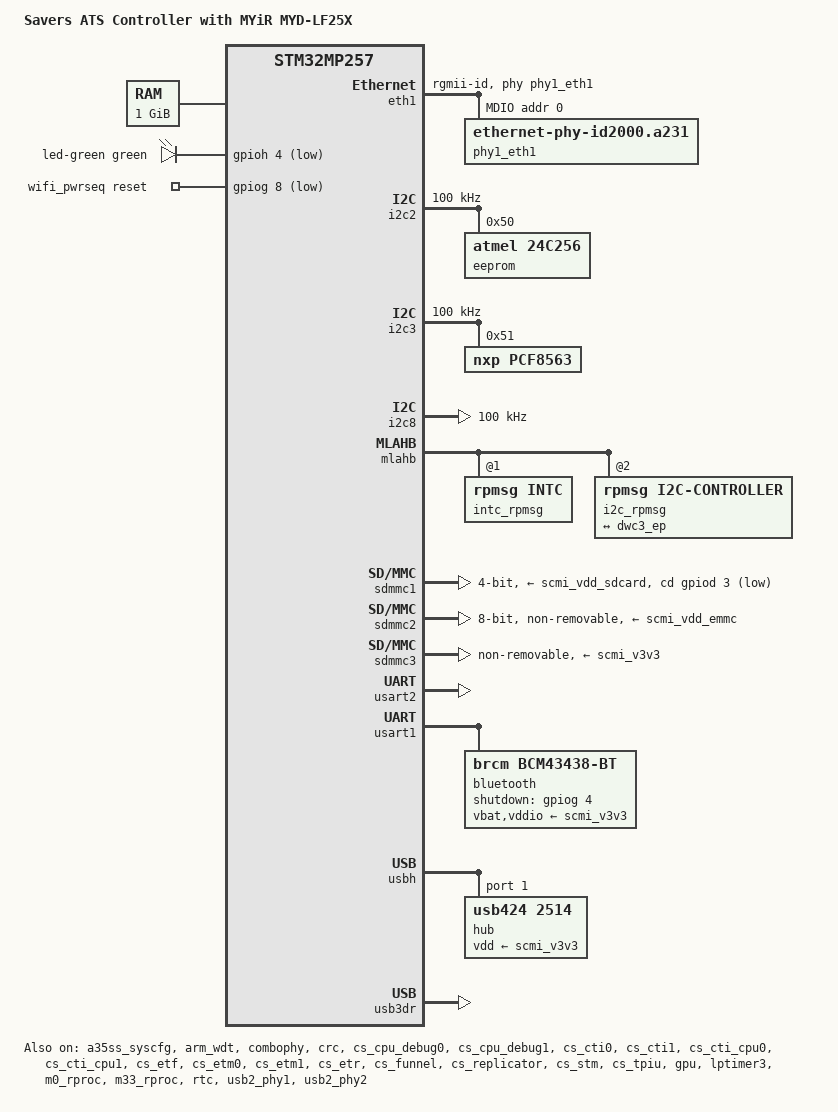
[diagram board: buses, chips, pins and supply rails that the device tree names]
// SPDX-License-Identifier: (GPL-2.0-only OR BSD-3-Clause)

/dts-v1/;

#include <dt-bindings/gpio/gpio.h>
#include <dt-bindings/input/input.h>
#include <dt-bindings/leds/common.h>
#include <dt-bindings/rtc/rtc-stm32.h>
#include <dt-bindings/net/ti-dp83867.h>
#include "stm32mp257.dtsi"
#include "stm32mp25xf.dtsi"
#include "stm32mp25-pinctrl.dtsi"
#include "stm32mp25xxak-pinctrl.dtsi"
#include "savers-myd-lf25x-resmem.dtsi"
#include "savers-myd-lf25x-mx.dtsi"
 
/ {
	model = "Savers ATS Controller with MYiR MYD-LF25X";
	compatible = "st,savers-myd-lf25x", "savers,savers-myd-lf25x", "myir,myd-lf25x", "st,stm32mp257";

	aliases {
		ethernet1 = &eth1;
		serial0 = &usart2;
		serial1 = &usart1;
		serial3 = &usart3;
		serial6 = &usart6;
		i2c1 = &i2c1;
		i2c2 = &i2c2;
		i2c3 = &i2c3;
		i2c8 = &i2c8;
        mmc0 = &sdmmc1;
        mmc1 = &sdmmc2;
        mmc2 = &sdmmc3;
	};

	memory@80000000 {
		device_type = "memory";
		reg = <0x0 0x80000000 0x0 0x40000000>;
	};

	chosen {
		stdout-path = "serial0:115200n8";
	};

	gpio-leds {
		compatible = "gpio-leds";

		led-green {
			function = LED_FUNCTION_HEARTBEAT;
			color = <LED_COLOR_ID_GREEN>;
			gpios = <&gpioh 4 GPIO_ACTIVE_LOW>;
			linux,default-trigger = "heartbeat";
			default-state = "off";
		};
	};

};

&i2s1 {
	status = "disabled";
};

&a35ss_syscfg {
	status = "okay";
};

&ahbsr {
	mbox_client: mailbox-client@1 {
		compatible = "mbox-cdev";
		reg = <1 0>;
		memory-region =  <&ipc_shmem_2>;
		mboxes = <&ipcc2 0>;
		mbox-names = "rx-tx";
		status = "okay";
	};
};

&arm_wdt {
	timeout-sec = <32>;
	status = "okay";
};

&combophy {
	clocks = <&rcc CK_BUS_USB3PCIEPHY>, <&rcc CK_KER_USB3PCIEPHY>;
    clock-names = "apb-clk", "ker-clk";
	st,rx_equalizer = <1>;
	status = "okay";
};

&crc {
	status = "okay";
};

&cs_cpu_debug0 {
	status = "okay";
};

&cs_cpu_debug1 {
	status = "okay";
};

&cs_cti0 {
	status = "okay";
};

&cs_cti1 {
	status = "okay";
};

&cs_cti_cpu0 {
	status = "okay";
};

&cs_cti_cpu1 {
	status = "okay";
};

&cs_etf {
	status = "okay";
};

&cs_etm0 {
	status = "okay";
};

&cs_etm1 {
	status = "okay";
};

&cs_etr {
	status = "okay";
};

&cs_funnel {
	status = "okay";
};

&cs_replicator {
	status = "okay";
};

&cs_stm {
	status = "okay";
};

&cs_tpiu {
	status = "okay";
};

&csi {
	status = "disabled";
};

&dcmipp {
	status = "disabled";
};

&dsi {
	status = "disabled";
};


&eth1 {
	status = "okay";
	pinctrl-0 = <&eth1_rgmii_pins_b>;
	pinctrl-1 = <&eth1_rgmii_sleep_pins_b>;
	pinctrl-names = "default", "sleep";
	phy-mode = "rgmii-id";
	max-speed = <1000>;
	phy-handle = <&phy1_eth1>;
	snps,ext-systime;

	mdio1 {
		#address-cells = <1>;
		#size-cells = <0>;
		compatible = "snps,dwmac-mdio";

		reset-gpios = <&gpioi 4 GPIO_ACTIVE_LOW>;	/* ETH1_PHY_RST (PI4) */
		reset-delay-us = <10000>;
		reset-post-delay-us = <80000>;

		phy1_eth1: ethernet-phy@0 {
			compatible = "ethernet-phy-id2000.a231", "ethernet-phy-ieee802.3-c22";
			reg = <0>;
			phy-mode = "rgmii-id";
			ti,rx-internal-delay = <DP83867_RGMIIDCTL_2_00_NS>;
			ti,tx-internal-delay = <DP83867_RGMIIDCTL_2_00_NS>;
			ti,fifo-depth = <DP83867_PHYCR_FIFO_DEPTH_4_B_NIB>;
		};
	};
};

&gpu {
	contiguous-area = <&gpu_reserved>;
	status = "okay";
};

&hpdma {
	memory-region = <&hpdma1_lli>;
};

&hpdma2 {
	memory-region = <&hpdma2_lli>;
};

&hpdma3 {
	memory-region = <&hpdma3_lli>;
};

&i2c2 {
	i2c-scl-rising-time-ns = <100>;
	i2c-scl-falling-time-ns = <13>;
	clock-frequency = <100000>;
	status = "okay";
	/* spare dmas for other usage */
	/delete-property/dmas;
	/delete-property/dma-names;

	eeprom@50 {
		compatible = "atmel,24c256";
		reg = <0x50>;
		status = "okay";
	};
};

&i2c3 {
	i2c-scl-rising-time-ns = <185>;
	i2c-scl-falling-time-ns = <20>;
	clock-frequency = <100000>;
	status = "okay";
	/* spare dmas for other usage */
	/delete-property/dmas;
	/delete-property/dma-names;

	pcf8563: pcf8563@51 {
			compatible = "nxp,pcf8563";
			reg = <0x51>;
			status = "okay";
	};
};

&i2c8 {
	i2c-scl-rising-time-ns = <185>;
	i2c-scl-falling-time-ns = <20>;
	clock-frequency = <100000>;
	status = "okay";
};

&i2s2 {
	status = "disabled";
};

&i2s3 {
	status = "disabled";
};

&ipcc1 {
	status = "okay";
};

&ipcc2 {
	status = "okay";
};

/* use LPTIMER with tick broadcast for suspend mode */
&lptimer3 {
	status = "okay";
	timer {
		status = "okay";
	};
};

&lpuart1 {
	status = "disabled";
};

&m0_rproc {
	mboxes = <&ipcc2 0>, <&ipcc2 1>, <&ipcc2 2>;
	mbox-names = "rx", "tx", "shutdown";
	memory-region = <&cm0_cube_fw>, <&cm0_cube_data>;
	clocks = <&rcc CK_CPU3>,
		 <&rcc CK_CPU3_AM>,
		 <&scmi_clk CK_SCMI_IPCC2>,
		 <&scmi_clk CK_SCMI_IPCC2_AM>;
	status = "okay";
};

&m33_rproc {
	mboxes = <&ipcc1 0x100>, <&ipcc1 0x101>, <&ipcc1 2>;
	mbox-names = "vq0", "vq1", "shutdown";
	memory-region = <&cm33_cube_fw>, <&cm33_cube_data>,
			<&ipc_shmem_1>, <&vdev0vring0>,
			<&vdev0vring1>, <&vdev0buffer>,
			<&cm33_sram2>;
	st,syscfg-nsvtor = <&a35ss_syscfg 0xa8 0xffffff80>;
	status = "okay";
};



&mlahb {
	intc_rpmsg: interrupt-controller@1 {
		compatible = "rpmsg,intc";
		reg = <1 0>;
		#interrupt-cells = <1>;
		interrupt-controller;
	};

	i2c_rpmsg: i2c@2 {
		compatible = "rpmsg,i2c-controller";
		reg = <2 0>;
		rpmsg,dev-id = "rpmsg_i2c";
		#address-cells = <1>;
		#size-cells = <0>;
		status = "okay";

		typec@35 {
			compatible = "st,stm32mp25-typec";
			reg = <0x35>;
			interrupts-extended = <&intc_rpmsg 0>;
			status = "okay";
			connector {
				compatible = "usb-c-connector";
				label = "USB-C";

				port {
					typec_ep: endpoint {
						remote-endpoint = <&dwc3_ep>;
					};
				};
			};
		};
	};
};

/*
 * ---------------------------------------------------------------------------
 * WiFi / Bluetooth (Murata / Broadcom), wired like the STM32MP257F-DK — same
 * module and pins on the Savers board:
 *   WiFi   : SDMMC3 SDIO, WL_REG_ON = PG8 (wifi_pwrseq)
 *   BT     : USART1, BT_REG_ON = PG4 (shutdown-gpios)
 *   32 kHz : RTC LSCO on RTC_OUT2 (PI8) feeds the module's LPO
 * NOTE: the brcmfmac / Murata firmware blobs must be installed in the rootfs
 * (image recipe) for WiFi/BT to actually come up.
 * ---------------------------------------------------------------------------
 */
/ {
	wifi_pwrseq: wifi-pwrseq {
		compatible = "mmc-pwrseq-simple";
		reset-gpios = <&gpiog 8 GPIO_ACTIVE_LOW>;	/* WL_REG_ON (PG8) */
		clocks = <&rtc>;
		clock-names = "ext_clock";
	};
};

&rtc {
	#clock-cells = <0>;
	st,lsco = <RTC_OUT2_RMP>;			/* 32 kHz LPO out on RTC_OUT2 (PI8) */
	pinctrl-0 = <&rtc_out2_rmp_pins_a>;
	pinctrl-names = "default";
	status = "okay";
};

&scmi_regu {
	scmi_vddio1: regulator@0 {
		regulator-min-microvolt = <3300000>;
		regulator-max-microvolt = <3300000>;
	};
	scmi_vddcore: regulator@11  {
		reg = <VOLTD_SCMI_STPMIC2_BUCK2>;
		regulator-name = "vddcore";
	};
	scmi_v1v8: regulator@14  {
		reg = <VOLTD_SCMI_STPMIC2_BUCK5>;
		regulator-name = "v1v8";
	};
	scmi_v3v3: regulator@16 {
		reg = <VOLTD_SCMI_STPMIC2_BUCK7>;
		regulator-name = "v3v3";
	};
	scmi_vdd_emmc: regulator@18 {
		reg = <VOLTD_SCMI_STPMIC2_LDO2>;
		regulator-name = "vdd_emmc";
	};
	scmi_vdd3v3_usb: regulator@20 {
		reg = <VOLTD_SCMI_STPMIC2_LDO4>;
		regulator-name = "vdd3v3_usb";
	};
	scmi_vdd_sdcard: regulator@23 {
		reg = <VOLTD_SCMI_STPMIC2_LDO7>;
		regulator-name = "vdd_sdcard";
	};
};

&sdmmc1 {
	pinctrl-names = "default", "opendrain", "sleep";
	pinctrl-0 = <&sdmmc1_b4_pins_b>;
	pinctrl-1 = <&sdmmc1_b4_od_pins_b>;
	pinctrl-2 = <&sdmmc1_b4_sleep_pins_a>;
	cd-gpios = <&gpiod 3 (GPIO_ACTIVE_LOW | GPIO_PULL_UP)>;
	max-frequency = <50000000>;
	disable-wp;
	st,neg-edge;
	bus-width = <4>;
	vmmc-supply = <&scmi_vdd_sdcard>;
	vqmmc-supply = <&scmi_vddio1>;
	status = "okay";
};

&sdmmc2 {
	pinctrl-names = "default", "opendrain", "sleep";
	pinctrl-0 = <&sdmmc2_b4_pins_a &sdmmc2_d47_pins_a>;
	pinctrl-1 = <&sdmmc2_b4_od_pins_a &sdmmc2_d47_pins_a>;
	pinctrl-2 = <&sdmmc2_b4_sleep_pins_a &sdmmc2_d47_sleep_pins_a>;
	non-removable;
	no-sd;
	no-sdio;
	st,neg-edge;
	bus-width = <8>;
	vmmc-supply = <&scmi_vdd_emmc>;
	vqmmc-supply = <&scmi_vddio2>;
	mmc-ddr-1_8v;
        mmc-hs200-1_8v;
	status = "okay";
};

/* Wifi */
&sdmmc3 {
	/* Use the Savers/DK WL_REG_ON (PG8) pwrseq, not MYiR's disabled one (PD5). */
	mmc-pwrseq = <&wifi_pwrseq>;
	vmmc-supply = <&scmi_v3v3>;
	cap-sdio-irq;
	non-removable;
};

&spi7 {
	status = "disabled";
};

&spi3 {
	status = "disabled";
};

&spi8 {
	status = "disabled";
};

&usart2 {
	pinctrl-names = "default", "idle", "sleep";
	pinctrl-0 = <&usart2_pins_a>;
	pinctrl-1 = <&usart2_idle_pins_a>;
	pinctrl-2 = <&usart2_sleep_pins_a>;
	/delete-property/dmas;
	/delete-property/dma-names;
	status = "okay";
};

&usart6 {
	uart-has-rtscts;
};

&usart1 {
	/delete-property/dmas;
	/delete-property/dma-names;
	uart-has-rtscts;
	status = "okay";
	bluetooth {
		compatible = "brcm,bcm43438-bt";
		shutdown-gpios = <&gpiog 4 GPIO_ACTIVE_HIGH>;	/* BT_REG_ON (PG4) */
		clocks = <&rtc>;
		clock-names = "lpo";
		max-speed = <2000000>;
		vbat-supply = <&scmi_v3v3>;
		vddio-supply = <&scmi_v3v3>;
	};
};

&uart4 {
	status = "disabled";
};

&uart8 {
	status = "disabled";
};

&uart9 {
	status = "disabled";
};

&usb2_phy1 {
	vdd33-supply = <&scmi_vdd3v3_usb>;
	status = "okay";
};

&usb2_phy2 {
	vdd33-supply = <&scmi_vdd3v3_usb>;
	status = "okay";
};

&usbh {
	status = "okay";

	usbh_ehci: usb@482f0000 {
		#address-cells = <1>;
		#size-cells = <0>;
		/* onboard HUB */
		hub@1 {
			compatible = "usb424,2514";
			reg = <1>;
			vdd-supply = <&scmi_v3v3>;
		};
	};

	usbh_ohci: usb@482e0000 {
		status = "disabled";
	};
};

&usb3dr {
	status = "okay";

	dwc3: usb@48300000 {
		phys            = <&usb2_phy2>, <&combophy PHY_TYPE_USB3>;
		phy-names       = "usb2-phy", "usb3-phy";
        maximum-speed = "super-speed";
        snps,incr-burst-type-adjustment = <4>;
        dr_mode = "otg";
		usb-role-switch;
        role-switch-default-mode = "peripheral";
        //role-switch-default-mode = "host";
        snps,dis_u2_susphy_quirk;
        snps,dis_u3_susphy_quirk;
        snps,dis_enblslpm_quirk;
        snps,dis-tx-ipgap-linecheck-quirk;
		port {
			dwc3_ep: endpoint {
				remote-endpoint = <&typec_ep>;
			};
		};
	};
};

&adc_12{
	status = "disabled";
};
